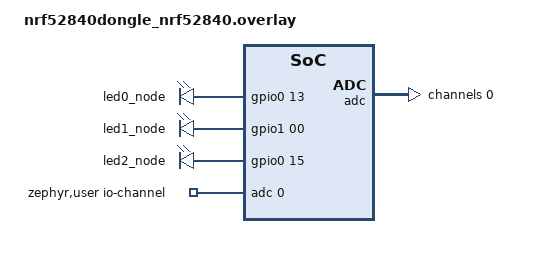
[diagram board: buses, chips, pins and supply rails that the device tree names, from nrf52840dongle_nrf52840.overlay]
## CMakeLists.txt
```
cmake_minimum_required(VERSION 3.20.0)
find_package(Zephyr REQUIRED HINTS $ENV{ZEPHYR_BASE})

project(four_led_sampling)

target_sources(app PRIVATE src/main.c)
```

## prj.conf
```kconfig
# Copied from 'digital_out' application, required to set led pins high and low
CONFIG_GPIO=y
CONFIG_LOG=y
CONFIG_LOG_DEFAULT_LEVEL=3


# Logging (copied from Samir's code)
CONFIG_LOG=y
CONFIG_LOG_MODE_DEFERRED=y
CONFIG_LOG_DEFAULT_LEVEL=3
CONFIG_LOG_BACKEND_UART=y
CONFIG_CBPRINTF_FP_SUPPORT=y
CONFIG_CBPRINTF_COMPLETE=y

# Logging stuff suggested by Tadhg
# CONFIG_LOG_MODE=CONFIG_LOG_MODE_DEFERRED //THIS LINES DOESN'T WORK
CONFIG_LOG_MODE_DEFERRED=y
CONFIG_LOG_BUFFER_SIZE=32768
CONFIG_LOG_PROCESS_TRIGGER_THRESHOLD=0
CONFIG_LOG_BLOCK_IN_THREAD=y


# Copied from 'analog_read_serial_out'
CONFIG_ADC=y
CONFIG_ADC_NRFX_SAADC=y

CONFIG_SERIAL=y
CONFIG_UART_CONSOLE=y
CONFIG_PRINTK=y
CONFIG_STDOUT_CONSOLE=y
# CONFIG_TIMER_HAS_64BIT_CYCLE_COUNTER=y //Can't set this :(
```

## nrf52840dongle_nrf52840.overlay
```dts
// Copied from 'digital_out' application, configures the 3 LEDs
/ {
    // LED GPIO OUTPUT PINS SETUP
    aliases {
        led0 = &led0_node;
        led1 = &led1_node;
        led2 = &led2_node;
    };

    leds {
        compatible = "gpio-leds";

        led0_node: led0 {
            gpios = <&gpio0 13 GPIO_ACTIVE_HIGH>; //Green
        };

        led1_node: led1 {
            gpios = <&gpio1 00 GPIO_ACTIVE_HIGH>; //Red
        };

        led2_node: led2 {
            gpios = <&gpio0 15 GPIO_ACTIVE_HIGH>; //Infrared
        };
    };


    // NEEDED FOR INPUT PIN CONFIGURATION WITH ADC
    /* NOTE: this node name must be zephyr,user (comma!) */
    zephyr,user {
        io-channels = <&adc 0>;
    };
};

&adc {
    status = "okay";
    #address-cells = <1>;
    #size-cells = <0>;

    channel@0 {
        reg = <0>;
        zephyr,gain = "ADC_GAIN_1_5";
        zephyr,reference = "ADC_REF_INTERNAL";
        zephyr,acquisition-time = <ADC_ACQ_TIME_DEFAULT>;
        zephyr,resolution = <12>;
        zephyr,input-positive = <NRF_SAADC_AIN0>; /* P0.02 */
        
        //For differential measurement, use input-negative.
        //Note: this will change the adc range to 0-2000 for 0v - 3V
        //zephyr,input-negative = <NRF_SAADC_GND>;
    };
};
```

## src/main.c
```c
// Author: Ciaran McDonald-Jensen
// Date Created: Early January
// Purpose: This program cycles between the three LEDs and all being off, and samples the voltage across the photodiode. It prints data to serial which can then be converted to a csv using convert_data_to_csv.py

// Copied from 'digital_out' application
#include <zephyr/kernel.h>
#include <zephyr/device.h>
#include <zephyr/drivers/gpio.h>

// Copied from 'analog_read_serial_out' application
#include <zephyr/drivers/adc.h>
#include <zephyr/devicetree.h>
#include <zephyr/sys/printk.h>
#include <zephyr/sys/util.h>
#include <zephyr/logging/log.h>

//Required for high drive
#include <zephyr/dt-bindings/gpio/nordic-nrf-gpio.h>



// Initializing ADC stuff for analog input pin
#if !DT_NODE_EXISTS(DT_PATH(zephyr_user)) || \
    !DT_NODE_HAS_PROP(DT_PATH(zephyr_user), io_channels)
#error "No suitable devicetree overlay specified"
#endif

#define DT_SPEC_AND_COMMA(node_id, prop, idx) \
    ADC_DT_SPEC_GET_BY_IDX(node_id, idx),

static const struct adc_dt_spec adc_channels[] = {
    DT_FOREACH_PROP_ELEM(DT_PATH(zephyr_user), io_channels,
                         DT_SPEC_AND_COMMA)
};



// Initializing LED GPIO pin stuff
#define LED0_NODE DT_ALIAS(led0)
#define LED1_NODE DT_ALIAS(led1)
#define LED2_NODE DT_ALIAS(led2)

#if !DT_NODE_HAS_STATUS(LED0_NODE, okay) || \
    !DT_NODE_HAS_STATUS(LED1_NODE, okay) || \
    !DT_NODE_HAS_STATUS(LED2_NODE, okay)
#error "One or more LED aliases (led0/led1/led2) are not defined in the debietree"
#endif

static const struct gpio_dt_spec led0 = GPIO_DT_SPEC_GET(LED0_NODE, gpios); //Green
static const struct gpio_dt_spec led1 = GPIO_DT_SPEC_GET(LED1_NODE, gpios); //Red
static const struct gpio_dt_spec led2 = GPIO_DT_SPEC_GET(LED2_NODE, gpios); //Infrared



// Initializing Variables and Parameters that will be used for sampling
// NOTE: All 4 element arrays specify one value for each 'state'.
// Each sampling period goes over all 4 states of 0-GreenOn, 1-RedOn, 2-InfraredON, 3-AllOff

static const int stateDuration[4]  = {1000*10, 1000*10, 1000*10, 1000*10}; //us
static const int settlingDuration[4] = {1000, 1000, 1000, 1000}; //us
// TODO - should make this all caps
#define adc_read_delay 50 //us //NOTE: Minimum resolution is ~30us, delay between reads may be more than this (on scale of ~100us), can test code execution time by setting this to 0
#define BUFFER_SIZE 45

//SOME BASIC FUNCTIONS FOR SETTING THINGS UP

/** Initialize one LED. returns 0 if succeeded*/
static int init_led(const struct gpio_dt_spec *led)
{
    if (!device_is_ready(led->port)) {
        printf("MYERROR: GPIO Pin was not ready so not running code (specifically the port?)!!!\n");
        return -1;
    }
    return gpio_pin_configure_dt(led, GPIO_OUTPUT_INACTIVE | NRF_GPIO_DRIVE_H0H1);
}

/** Initialize the ADC. returns 0 if succeeded*/
static int init_adc() {
    for (size_t i = 0; i < ARRAY_SIZE(adc_channels); i++) {
        if (!adc_is_ready_dt(&adc_channels[i])) {
            printf("ADC %s not ready\n", adc_channels[i].dev->name);
            return -1;
        }

        int err = adc_channel_setup_dt(&adc_channels[i]);
        if (err) {
            printf("Channel setup failed (%d)\n", err);
            return -1;
        }
    }
    return 0;
}

static void turn_state_led_on(int curState)
{
    switch (curState) {
    case 0:
        // Turn on green LED
        gpio_pin_set_dt(&led0, 1);
        break;
    case 1:
        // Turn on Red LED
        gpio_pin_set_dt(&led1, 1);
        break;
    case 2:
        // Turn on IR LED
        gpio_pin_set_dt(&led2, 1);
        break;
    case 3:
        // Don't turn on any LED
        break;
    }
}

static void turn_prev_state_led_off(int curState) //TODO - would make sense to combine turn_state_led_on and turn_prev_state_led_off
{
    switch (curState) {
    case 0:
        // All LEDs were off before
        break;
    case 1:
        // Turn off Green LED
        gpio_pin_set_dt(&led0, 0);
        break;
    case 2:
        // Turn off Red LED
        gpio_pin_set_dt(&led1, 0);
        break;
    case 3:
        // Turn off IR LED
        gpio_pin_set_dt(&led2, 0);
        break;
    }
}

/**Reads one channel of the adc and returns the measurement in mV. Returns -1 if failed to take measurement. If only one adc then chan==0*/
static int32_t read_adc_chan(int chan) {
    int16_t sample;   // SIGNED buffer for reading adc values
    struct adc_sequence sequence = {
        .buffer = &sample,
        .buffer_size = sizeof(sample),
    };
    int32_t mv;

    adc_sequence_init_dt(&adc_channels[chan], &sequence);
    int err = adc_read_dt(&adc_channels[chan], &sequence);
    if (err) {
        printf("adc_read failed (%d)\n", err);
        return -1;
    }

    /* sample is already signed */
    mv = sample;

    if (adc_raw_to_millivolts_dt(&adc_channels[chan], &mv) == 0) {
        return mv;
    } else {
        printf("(mV unavailable)\n");
        return -1;
    }
}

// TODO - improve this by taking in the value instead of the array
static void print_state_info(int state, uint32_t stateStartTime[4], uint32_t stateEndTime[4], int readsTaken[4], long readsRunningTotal[4], int32_t readsBuffer[4][BUFFER_SIZE], uint32_t readsBufferTimestamps[4][BUFFER_SIZE]) {
    // Add tiny delay
    int PRINT_DELAY = 150; //us //This is temporary small delay added to help print, since the buffer fills fast and this function needs ot slow down
    k_usleep(PRINT_DELAY);
    /////// fflush(stdout);

    // FORMAT - for now doing one sample per 3 lines. First X values are for state 0, next X values are for state 1, etc. so total 4X values
    printf("\n%d,", state); //Can probably remove this one, doing for sanity check
    printf("%u,", stateStartTime[state]);
    printf("%u,", stateEndTime[state]);
    printf("%d,", readsTaken[state]);
    printf("%ld,", readsRunningTotal[state]);
    printf("%d,", BUFFER_SIZE); //Could remove this in final version
    printf("\n"); //The serial terminal adds new lines if line is too long, so breaking up the line
    // printf("\n[");
    /////// fflush(stdout);
    for (int read=0; read<BUFFER_SIZE; read++) {
        if (read<readsTaken[state]) {
            // read is the index of an measurement during this sample
            printf("%d,", readsBuffer[state][read]);
        } else {
            // read is an index of an unused part of the buffer
            printf("nan,");
        }
        /////// fflush(stdout);
        // // This comma seperates elements and does not include a comma after the last element
        // if (read != BUFFER_SIZE) {
        //     printf(",")
        // }
    }
    // // printf("],");
    printf("\n"); //The serial terminal adds new lines if line is too long, so breaking up the line
    // // printf("\n[");
    k_usleep(PRINT_DELAY);
    /////// fflush(stdout);
    for (int read=0; read<BUFFER_SIZE; read++) {
        if (read<readsTaken[state]) {
            // read is the index of an measurement during this sample
            printf("%u,", readsBufferTimestamps[state][read]);
        } else {
            // read is an index of an unused part of the buffer
            printf("nan,");
        }
        /////// fflush(stdout);
        // // This comma seperates elements and does not include a comma after the last element
        // if (read != BUFFER_SIZE) {
        //     printf(",")
        // }
    }
    // printf("]");
    printf("\n");
    k_usleep(PRINT_DELAY);
    /////// fflush(stdout);
}

// For some reason these make it crash for BUFFER_SIZE ~12-15 and more if in main (Not an issue with it here) (TODO - should probably use Malloc, and calculate BUFFER_SIZE based on longest state time and adc_read_delay)
int32_t readsBuffer[4][BUFFER_SIZE]; //mV //NOTE: Only need this for initial tests while we want to see all measurements - TODO Could make it smaller
uint32_t readsBufferTimestamps[4][BUFFER_SIZE]; //us 

int main(void)
{
    // TODO: using 32 bit for storing time. It will overflow after ~4000s. So we need to be aware of this and deal with overflow
    uint32_t stateStartTime[4]; //us
    uint32_t stateEndTime[4]; //us
    int readsTaken[4] = {0};
    long readsRunningTotal[4] = {0}; //Used to compute the average read without fancy filtering
    
    //int readsAverage[4] = {0}; //TODO - not using this right now. Right now sending running total and getting python to average so I don't need to deal with floats here

    k_msleep(3000); // wait a 3s for stuff to start. Otherwise I miss this print
    printf("Compiled %s at %s %s \n", __FILE__, __DATE__, __TIME__); //This is when *compiled* (helpful for knowing if you successfully uploaded newly compiled code)

    //Initial Setup Stuff
    if (init_led(&led0) != 0 || init_led(&led1) != 0 || init_led(&led2) != 0) {
        printf("MYERROR: GPIO Pin either was not ready or failed to configure so not running code!!!\n");
		k_msleep(1000*10); //Don't quit for 10s, so I can read serial error message
        return -1;
    }
    if (init_adc() != 0) {
        printf("MYERROR: Failed to initialize ADC. Quitting main loop\n");
        k_msleep(1000*10); //Don't quit for 10s, so I can read serial error message
        return -1;
    }

    while (1) {

        for (int state=0; state<4; state++) {
            // Goes over every state. 0-GreenOn, 1-RedOn, 2-InfraredON, 3-AllOff

            // debug prints
            // printf("\nState %d\n", state);
            // printf("Time: %u\n", k_cyc_to_us_near32(k_cycle_get_32()));
            // printf("Cycles: %u\n", k_cycle_get_32());
            // printf("Conversion Rate: %u\n", sys_clock_hw_cycles_per_sec());

            // Make sure LEDs are in correct state
            turn_prev_state_led_off(state);
            turn_state_led_on(state);
            stateStartTime[state] = k_cyc_to_us_near32(k_cycle_get_32());

            // Reset variables
            readsTaken[state] = 0;
            readsRunningTotal[state] = 0;

            
            // print_state_info(state, stateStartTime, stateEndTime, readsTaken, readsRunningTotal, readsBuffer, readsBufferTimestamps);

            

            // Wait settling duration
            k_usleep(settlingDuration[state]);


            // Take Measurements
            // TODO - add and condition to avoid overflow
            while ((k_cyc_to_us_near32(k_cycle_get_32()) - stateStartTime[state]) < stateDuration[state]) {
                // Keep taking reads until time for the state is up
                if (readsTaken[state]<BUFFER_SIZE) {
                    // Take a measurement
                    readsBuffer[state][readsTaken[state]] = read_adc_chan(0);
                    if (readsBuffer[state][readsTaken[state]] == -1) {
                        printf("failed to read adc\n");
                    }
                    readsBufferTimestamps[state][readsTaken[state]] = k_cyc_to_us_near32(k_cycle_get_32()); //TODO optimization, can reduce getting time from 2 times per loop to 1 per loop
                    readsRunningTotal[state] += readsBuffer[state][readsTaken[state]];
                    // printf("mv=%d\n", readsBuffer[state][readsTaken[state]]);

                    readsTaken[state] += 1;
                } else {
                    printf("WARNING: Buffer is not big enough so not sampling for entire sampling time, you should expand BUFFER_SIZE or lengthen adc_read_delay\n");
                }
                k_usleep(adc_read_delay);
            }

            stateEndTime[state] = k_cyc_to_us_near32(k_cycle_get_32());
            print_state_info(state, stateStartTime, stateEndTime, readsTaken, readsRunningTotal, readsBuffer, readsBufferTimestamps);
        }

        // One sampling period happened, log all the data (print the buffer and the timestamps for things)
        
        // Nice debug prints
        // printf("\nNEW SAMPLE\n");
        // for (int state=0; state<4; state++) {
        //     printf("State:%d\n", state);
        //     printf("stateStartTime:%d\n", stateStartTime[state]);
        //     printf("stateEndTime:%d\n", stateEndTime[state]);
        //     printf("readsTaken:%d\n", readsTaken[state]);
        //     printf("readsRunningTotal:%ld\n", readsRunningTotal[state]);
        //     // for (int read=0; read<readsTaken[state]; read++)
        // }


        // ----------------------------------------------------------------------------------------
        // NOTE: (NOW PRINTING AFTER EACH STATE so don't overflow buffer (will delete this if no longer needed))
        // ----------------------------------------------------------------------------------------

        // Data prints used to turn into csv V1.0 
        // for (int state=0; state<4; state++) {
        //     print_state_info(state, stateStartTime, stateEndTime, readsTaken, readsRunningTotal, readsBuffer, readsBufferTimestamps);
            // // Add tiny delay
            // int PRINT_DELAY = 150; //us
            // k_usleep(PRINT_DELAY);
            // /////// fflush(stdout);

            // // FORMAT - for now doing one sample per 3 lines. First X values are for state 0, next X values are for state 1, etc. so total 4X values
            // printf("\n%d,", state); //Can probably remove this one, doing for sanity check
            // printf("%u,", stateStartTime[state]);
            // printf("%u,", stateEndTime[state]);
            // printf("%d,", readsTaken[state]);
            // printf("%ld,", readsRunningTotal[state]);
            // printf("%d,", BUFFER_SIZE); //Could remove this in final version
            // printf("\n"); //The serial terminal adds new lines if line is too long, so breaking up the line
            // // printf("\n[");
            // /////// fflush(stdout);
            // for (int read=0; read<BUFFER_SIZE; read++) {
            //     if (read<readsTaken[state]) {
            //         // read is the index of an measurement during this sample
            //         printf("%d,", readsBuffer[state][read]);
            //     } else {
            //         // read is an index of an unused part of the buffer
            //         printf("nan,");
            //     }
            //     /////// fflush(stdout);
            //     // // This comma seperates elements and does not include a comma after the last element
            //     // if (read != BUFFER_SIZE) {
            //     //     printf(",")
            //     // }
            // }
            // // // printf("],");
            // printf("\n"); //The serial terminal adds new lines if line is too long, so breaking up the line
            // // // printf("\n[");
            // k_usleep(PRINT_DELAY);
            // /////// fflush(stdout);
            // for (int read=0; read<BUFFER_SIZE; read++) {
            //     if (read<readsTaken[state]) {
            //         // read is the index of an measurement during this sample
            //         printf("%u,", readsBufferTimestamps[state][read]);
            //     } else {
            //         // read is an index of an unused part of the buffer
            //         printf("nan,");
            //     }
            //     /////// fflush(stdout);
            //     // // This comma seperates elements and does not include a comma after the last element
            //     // if (read != BUFFER_SIZE) {
            //     //     printf(",")
            //     // }
            // }
            // // printf("]");
            // printf("\n");
            // k_usleep(PRINT_DELAY);
            // /////// fflush(stdout);
        // }
    }

    return 0;
}

// TODO - try to fix printing issue with /////// fflush(stdout) instead of delays
// /////// fflush(stdout);
```
